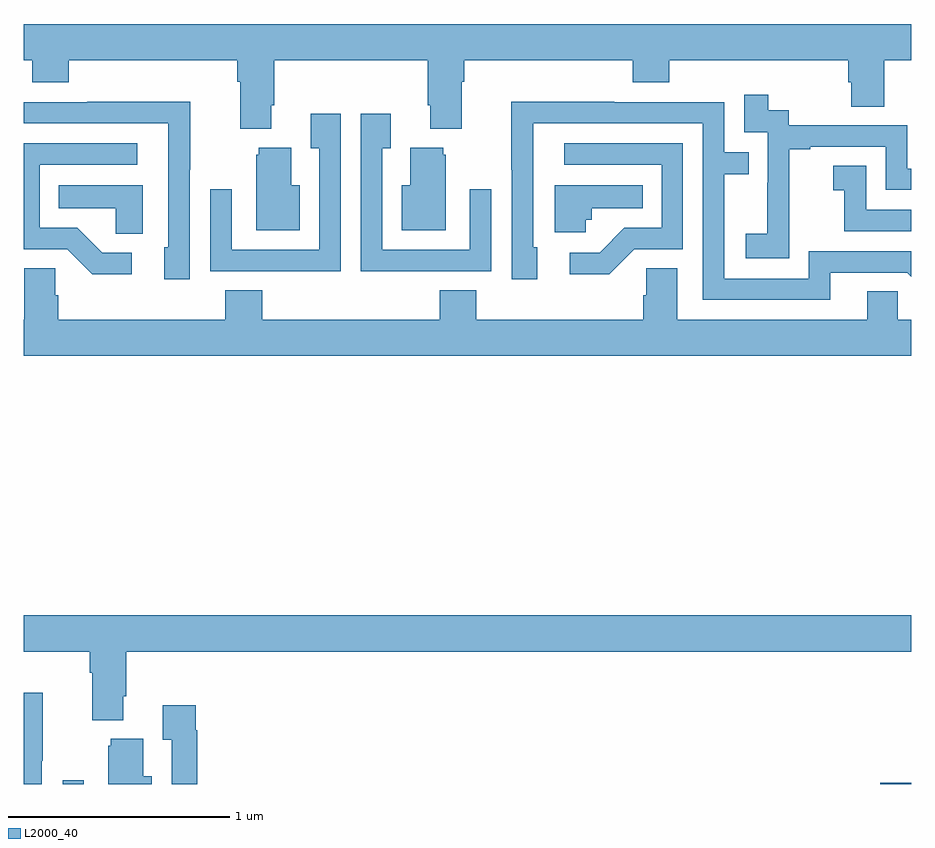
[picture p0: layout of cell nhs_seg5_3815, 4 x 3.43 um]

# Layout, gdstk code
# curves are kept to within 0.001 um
import gdstk
lib = gdstk.Library(unit=1e-6, precision=1e-09)
def R(c, l, rs):  # rectangles x0, y0, x1, y1
    for r in rs: c.add(gdstk.rectangle(r[:2], r[2:], *l))
def P(c, l, *ps):  # polygons
    for p in ps: c.add(gdstk.Polygon(p, *l))
L2000_40 = (2000, 40)

nhs_seg5_3815 = lib.new_cell('nhs_seg5_3815')
R(nhs_seg5_3815, L2000_40, [(335.175,886.799,335.271,886.816), (338.86,886.799,339,886.805)])
P(nhs_seg5_3815, L2000_40, [(336.115,889.858),(336.128,889.858),(336.128,890.06),(336.821,890.06),(336.821,889.858),(336.833,889.858),(336.833,889.751),(336.973,889.751),(336.973,889.964),(336.986,889.964),(336.986,890.06),(337.745,890.06),(337.745,889.961),(337.91,889.961),(337.91,890.06),(338.717,890.06),(338.717,889.962),(338.729,889.962),(338.729,889.852),(338.877,889.852),(338.877,890.06),(339,890.06),(339,890.224),(335,890.224),(335,890.06),(335.039,890.06),(335.039,889.961),(335.204,889.961),(335.204,890.06),(335.963,890.06),(335.963,889.964),(335.975,889.964),(335.975,889.751),(336.115,889.751)],
  [(338.451,889.375),(338.45,889.375),(338.45,889.659),(338.545,889.659),(338.545,889.671),(338.886,889.671),(338.886,889.476),(339,889.476),(339,889.572),(338.982,889.572),(338.982,889.767),(338.448,889.767),(338.448,889.836),(338.356,889.836),(338.356,889.906),(338.247,889.906),(338.247,889.737),(338.352,889.737),(338.352,889.508),(338.351,889.508),(338.351,889.279),(338.253,889.279),(338.253,889.169),(338.451,889.169)],
  [(335.748,889.567),(335.751,889.567),(335.751,889.874),(335.287,889.874),(335.287,889.872),(335,889.872),(335,889.776),(335.652,889.776),(335.652,889.218),(335.633,889.218),(335.633,889.074),(335.748,889.074)],
  [(338.635,889.104),(338.982,889.104),(339,889.086),(339,889.2),(338.538,889.2),(338.538,889.077),(338.157,889.077),(338.157,889.546),(338.267,889.546),(338.267,889.647),(338.157,889.647),(338.157,889.872),(337.661,889.872),(337.661,889.874),(337.198,889.874),(337.198,889.567),(337.2,889.567),(337.2,889.074),(337.315,889.074),(337.315,889.218),(337.296,889.218),(337.297,889.776),(338.061,889.776),(338.061,888.981),(338.635,888.981)],
  [(336.429,889.819),(336.293,889.819),(336.293,889.663),(336.333,889.663),(336.333,889.206),(335.937,889.206),(335.937,889.48),(335.841,889.48),(335.841,889.11),(336.157,889.11),(336.157,889.109),(336.429,889.109)],
  [(336.791,889.11),(337.107,889.11),(337.107,889.48),(337.011,889.48),(337.011,889.206),(336.615,889.206),(336.615,889.663),(336.655,889.663),(336.655,889.819),(336.519,889.819),(336.519,889.109),(336.791,889.109)],
  [(337.752,889.209),(337.971,889.209),(337.971,889.686),(337.437,889.686),(337.437,889.59),(337.875,889.59),(337.875,889.305),(337.706,889.305),(337.595,889.194),(337.461,889.194),(337.461,889.097),(337.639,889.097)],
  [(335.488,889.194),(335.353,889.194),(335.242,889.305),(335.073,889.305),(335.073,889.59),(335.512,889.59),(335.512,889.686),(335,889.686),(335,889.209),(335.196,889.209),(335.309,889.097),(335.488,889.097)],
  [(336.901,889.635),(336.89,889.635),(336.89,889.666),(336.743,889.666),(336.743,889.498),(336.704,889.498),(336.704,889.295),(336.901,889.295)],
  [(336.244,889.498),(336.205,889.498),(336.205,889.666),(336.059,889.666),(336.059,889.635),(336.047,889.635),(336.047,889.295),(336.244,889.295)],
  [(339,889.386),(338.796,889.386),(338.796,889.585),(338.649,889.585),(338.649,889.475),(338.698,889.475),(338.698,889.29),(339,889.29)],
  [(335.536,889.498),(335.158,889.498),(335.158,889.394),(335.415,889.394),(335.415,889.279),(335.536,889.279)],
  [(337.533,889.341),(337.56,889.341),(337.56,889.394),(337.79,889.394),(337.79,889.498),(337.394,889.498),(337.394,889.286),(337.533,889.286)],
  [(339,888.892),(338.94,888.892),(338.94,889.019),(338.801,889.019),(338.801,888.892),(337.945,888.892),(337.945,889.124),(337.806,889.124),(337.806,889.001),(337.793,889.001),(337.793,888.892),(337.04,888.892),(337.04,889.025),(336.875,889.025),(336.875,888.892),(336.074,888.892),(336.074,889.025),(335.909,889.025),(335.909,888.892),(335.156,888.892),(335.156,889.001),(335.142,889.001),(335.142,889.124),(335.003,889.124),(335.003,888.892),(335,888.892),(335,888.728),(339,888.728)],
  [(335.449,887.194),(335.462,887.194),(335.462,887.396),(339,887.396),(339,887.56),(335,887.56),(335,887.396),(335.297,887.396),(335.297,887.3),(335.309,887.3),(335.309,887.087),(335.449,887.087)],
  [(335.082,886.903),(335.085,886.903),(335.085,887.21),(335,887.21),(335,886.799),(335.082,886.799)],
  [(335.783,887.042),(335.776,887.042),(335.776,887.155),(335.627,887.155),(335.627,886.999),(335.667,886.999),(335.667,886.799),(335.783,886.799)],
  [(335.578,886.834),(335.539,886.834),(335.539,887.002),(335.393,887.002),(335.393,886.971),(335.381,886.971),(335.381,886.799),(335.578,886.799)])

lib.write_gds('nhs_seg5_3815.gds')
